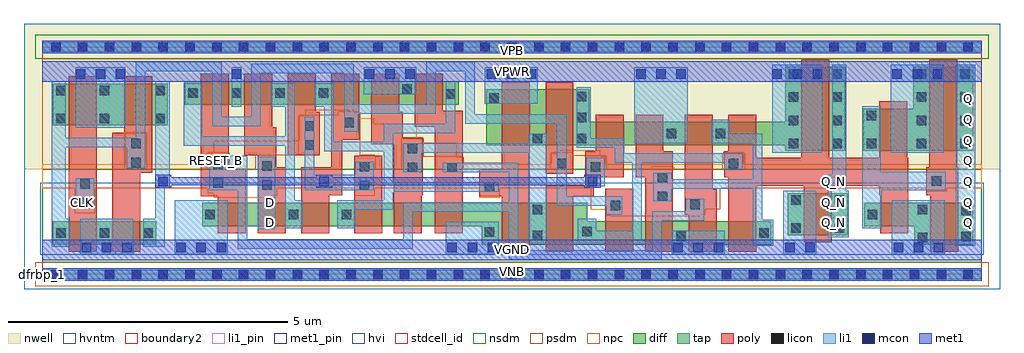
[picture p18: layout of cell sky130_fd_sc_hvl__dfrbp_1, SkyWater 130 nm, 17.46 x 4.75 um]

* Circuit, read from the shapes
.subckt sky130_fd_sc_hvl__dfrbp_1 CLK D Q Q_N RESET_B VGND VNB VPB VPWR
XM1 VGND CLK n1 VNB sky130_fd_pr__nfet_g5v0d10v5 w=0.42 l=0.5
XM2 n2 n1 VGND VNB sky130_fd_pr__nfet_g5v0d10v5 w=0.42 l=0.5
XM3 n3 RESET_B VGND VNB sky130_fd_pr__nfet_g5v0d10v5 w=0.42 l=0.5
XM4 n4 D n3 VNB sky130_fd_pr__nfet_g5v0d10v5 w=0.42 l=0.5
XM5 n5 n1 n4 VNB sky130_fd_pr__nfet_g5v0d10v5 w=0.42 l=0.5
XM6 n6 n2 n5 VNB sky130_fd_pr__nfet_g5v0d10v5 w=0.42 l=0.5
XM7 n7 n8 n6 VNB sky130_fd_pr__nfet_g5v0d10v5 w=0.42 l=0.5
XM8 VGND RESET_B n7 VNB sky130_fd_pr__nfet_g5v0d10v5 w=0.42 l=0.5
XM9 n8 n5 VGND VNB sky130_fd_pr__nfet_g5v0d10v5 w=0.75 l=0.5
XM10 n9 n2 n8 VNB sky130_fd_pr__nfet_g5v0d10v5 w=0.75 l=0.5
XM11 n10 n1 n9 VNB sky130_fd_pr__nfet_g5v0d10v5 w=0.42 l=0.5
XM12 VGND n11 n10 VNB sky130_fd_pr__nfet_g5v0d10v5 w=0.42 l=0.5
XM13 n12 RESET_B VGND VNB sky130_fd_pr__nfet_g5v0d10v5 w=0.42 l=0.5
XM14 n11 n9 n12 VNB sky130_fd_pr__nfet_g5v0d10v5 w=0.42 l=0.5
XM15 Q_N n9 VGND VNB sky130_fd_pr__nfet_g5v0d10v5 w=0.75 l=0.5
XM16 VGND n9 n13 VNB sky130_fd_pr__nfet_g5v0d10v5 w=0.42 l=0.5
XM17 Q n13 VGND VNB sky130_fd_pr__nfet_g5v0d10v5 w=0.75 l=0.5
XM18 VPWR CLK n1 VPB sky130_fd_pr__pfet_g5v0d10v5 w=0.75 l=0.5
XM19 n2 n1 VPWR VPB sky130_fd_pr__pfet_g5v0d10v5 w=0.75 l=0.5
XM20 VPWR RESET_B n4 VPB sky130_fd_pr__pfet_g5v0d10v5 w=0.42 l=0.5
XM21 n4 D VPWR VPB sky130_fd_pr__pfet_g5v0d10v5 w=0.42 l=0.5
XM22 n5 n2 n4 VPB sky130_fd_pr__pfet_g5v0d10v5 w=0.42 l=0.5
XM23 n14 n1 n5 VPB sky130_fd_pr__pfet_g5v0d10v5 w=0.42 l=0.5
XM24 VPWR n8 n14 VPB sky130_fd_pr__pfet_g5v0d10v5 w=0.42 l=0.5
XM25 n5 RESET_B VPWR VPB sky130_fd_pr__pfet_g5v0d10v5 w=0.42 l=0.5
XM26 n8 n5 VPWR VPB sky130_fd_pr__pfet_g5v0d10v5 w=1 l=0.5
XM27 n9 n1 n8 VPB sky130_fd_pr__pfet_g5v0d10v5 w=1 l=0.5
XM28 n15 n2 n9 VPB sky130_fd_pr__pfet_g5v0d10v5 w=0.42 l=0.5
XM29 VPWR n11 n15 VPB sky130_fd_pr__pfet_g5v0d10v5 w=0.42 l=0.5
XM30 n11 RESET_B VPWR VPB sky130_fd_pr__pfet_g5v0d10v5 w=0.42 l=0.5
XM31 VPWR n9 n11 VPB sky130_fd_pr__pfet_g5v0d10v5 w=0.42 l=0.5
XM32 Q_N n9 VPWR VPB sky130_fd_pr__pfet_g5v0d10v5 w=1.5 l=0.5
XM33 VPWR n9 n13 VPB sky130_fd_pr__pfet_g5v0d10v5 w=0.75 l=0.5
XM34 Q n13 VPWR VPB sky130_fd_pr__pfet_g5v0d10v5 w=1.5 l=0.5
.ends

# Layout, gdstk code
import gdstk
lib = gdstk.Library(unit=1e-6, precision=1e-09)
def R(c, l, rs):  # rectangles x0, y0, x1, y1
    for r in rs: c.add(gdstk.rectangle(r[:2], r[2:], *l))
def A(c, l, x, y, w, h, nx, ny, dx, dy):  # array of equal rectangles
    R(c, l, [(x+i*dx, y+j*dy, x+i*dx+w, y+j*dy+h) for i in range(nx) for j in range(ny)])
def P(c, l, *ps):  # polygons
    for p in ps: c.add(gdstk.Polygon(p, *l))
nwell = (64, 20)
diff = (65, 20)
tap = (65, 44)
poly = (66, 20)
licon = (66, 44)
li1_pin = (67, 16)
li1 = (67, 20)
mcon = (67, 44)
met1_pin = (68, 16)
met1 = (68, 20)
hvi = (75, 20)
stdcell_id = (81, 4)
nsdm = (93, 44)
psdm = (94, 20)
npc = (95, 20)
hvntm = (125, 20)
boundary2 = (236, 0)

sky130_fd_sc_hvl__dfrbp_ = lib.new_cell('sky130_fd_sc_hvl__dfrbp_1')
R(sky130_fd_sc_hvl__dfrbp_, nwell, [(-0.33,1.885,17.13,4.485)])
R(sky130_fd_sc_hvl__dfrbp_, diff, [(0.185,0.535,2.035,0.955), (13.335,0.705,14.405,1.455), (0.185,2.665,2.245,3.415), (2.545,3.04,7.445,3.46)])
P(sky130_fd_sc_hvl__dfrbp_, diff, [(13.035,0.955),(9.75,0.955),(9.75,1.285),(2.855,1.285),(2.855,0.865),(7.855,0.865),(7.855,0.535),(13.035,0.535)],
  [(14.36,3.715),(13.29,3.715),(13.29,2.73),(9.785,2.73),(9.785,3.31),(7.935,3.31),(7.935,2.31),(13.29,2.31),(13.29,2.215),(14.36,2.215)],
  [(16.65,3.715),(15.58,3.715),(15.58,2.965),(14.685,2.965),(14.685,2.215),(16.65,2.215)],
  [(16.65,1.285),(14.705,1.285),(14.705,0.865),(15.6,0.865),(15.6,0.535),(16.65,0.535)])
R(sky130_fd_sc_hvl__dfrbp_, tap, [(0,-0.085,16.8,0.085), (0,3.985,16.8,4.155)])
R(sky130_fd_sc_hvl__dfrbp_, poly, [(0.47,0.405,0.97,3.545), (10.07,0.405,10.57,1.53), (5.575,0.735,6.075,2.12), (9,1.8,9.5,3.44)])
P(sky130_fd_sc_hvl__dfrbp_, poly, [(1.96,3.545),(1.46,3.545),(1.46,2.535),(1.25,2.535),(1.25,0.405),(1.75,0.405),(1.75,1.815),(1.96,1.815)],
  [(3.64,1.895),(3.33,1.895),(3.33,3.59),(2.83,3.59),(2.83,1.395),(3.14,1.395),(3.14,0.735),(3.64,0.735)],
  [(4.35,1.915),(4.18,1.915),(4.18,2.635),(4.11,2.635),(4.11,3.59),(3.61,3.59),(3.61,2.135),(3.85,2.135),(3.85,0.735),(4.35,0.735)],
  [(4.96,2.91),(4.89,2.91),(4.89,3.59),(4.39,3.59),(4.39,2.13),(4.96,2.13)],
  [(5.67,3.59),(5.17,3.59),(5.17,1.915),(4.63,1.915),(4.63,0.735),(5.13,0.735),(5.13,1.415),(5.365,1.415),(5.365,2.41),(5.67,2.41)],
  [(6.805,2.435),(6.45,2.435),(6.45,2.91),(6.38,2.91),(6.38,3.59),(5.88,3.59),(5.88,2.33),(6.285,2.33),(6.285,0.735),(6.785,0.735),(6.785,1.415),(6.805,1.415)],
  [(7.515,2.93),(7.16,2.93),(7.16,3.59),(6.66,3.59),(6.66,2.645),(7.015,2.645),(7.015,0.735),(7.515,0.735)],
  [(8.72,3.44),(8.22,3.44),(8.22,1.895),(7.815,1.895),(7.815,1.395),(8.22,1.395),(8.22,0.405),(8.72,0.405)],
  [(10.395,2.86),(9.895,2.86),(9.895,2.2),(9.71,2.2),(9.71,1.59),(9,1.59),(9,0.405),(9.5,0.405),(9.5,1.395),(9.86,1.395),(9.86,1.74),(10.395,1.74)],
  [(11.28,2.2),(11.11,2.2),(11.11,2.86),(10.61,2.86),(10.61,1.74),(10.78,1.74),(10.78,0.405),(11.28,0.405)],
  [(12.06,1.525),(11.99,1.525),(11.99,2.86),(11.49,2.86),(11.49,1.065),(11.56,1.065),(11.56,0.405),(12.06,0.405)],
  [(15.49,2.085),(15.47,2.085),(15.47,3.095),(14.97,3.095),(14.97,2.085),(14.075,2.085),(14.075,3.845),(13.575,3.845),(13.575,2.085),(12.77,2.085),(12.77,2.86),(12.27,2.86),(12.27,2.2),(12.2,2.2),(12.2,1.735),(12.27,1.735),(12.27,0.405),(12.77,0.405),(12.77,1.585),(13.62,1.585),(13.62,0.575),(14.12,0.575),(14.12,1.585),(14.97,1.585),(14.97,1.415),(14.99,1.415),(14.99,0.735),(15.49,0.735)],
  [(16.385,1.915),(16.365,1.915),(16.365,3.845),(15.865,3.845),(15.865,1.915),(15.81,1.915),(15.81,1.415),(15.885,1.415),(15.885,0.405),(16.385,0.405)])
A(sky130_fd_sc_hvl__dfrbp_, licon, 0.155, -0.085, 0.17, 0.17, 35, 2, 0.48, 4.07)
A(sky130_fd_sc_hvl__dfrbp_, licon, 0.245, 0.66, 0.17, 0.17, 3, 1, 0.78, 0)
A(sky130_fd_sc_hvl__dfrbp_, licon, 9.555, 2.35, 0.17, 0.17, 1, 3, 0, 0.375)
A(sky130_fd_sc_hvl__dfrbp_, licon, 2.605, 3.165, 0.17, 0.17, 4, 1, 0.78, 0)
R(sky130_fd_sc_hvl__dfrbp_, licon, [(15.66,0.575,15.83,0.745), (11.335,0.59,11.505,0.76), (16.44,0.595,16.61,0.765), (8.775,0.615,8.945,0.785), (12.825,0.66,12.995,0.83), (7.915,0.675,8.085,0.845), (9.66,0.68,9.83,0.85), (13.395,0.745,13.565,0.915), (14.175,0.745,14.345,0.915), (2.915,0.99,3.085,1.16), (4.405,0.99,4.575,1.16), (5.35,0.99,5.52,1.16), (14.765,0.99,14.935,1.16), (16.44,1.055,16.61,1.225), (8.775,1.075,8.945,1.245), (15.66,1.075,15.83,1.245), (10.17,1.15,10.34,1.32), (11.59,1.165,11.76,1.335), (0.675,1.195,0.845,1.365), (13.395,1.245,13.565,1.415), (14.175,1.245,14.345,1.415), (11.01,1.31,11.18,1.48), (7.915,1.475,8.085,1.645), (5.675,1.51,5.845,1.68), (3.93,1.515,4.1,1.685), (0.675,1.535,0.845,1.705), (3.06,1.555,3.23,1.725), (15.91,1.585,16.08,1.755), (11.01,1.65,11.18,1.82), (6.535,1.825,6.705,1.995), (7.245,1.825,7.415,1.995), (9.81,1.84,9.98,2.01), (5.675,1.85,5.845,2.02), (3.93,1.855,4.1,2.025), (3.06,1.895,3.23,2.065), (9.205,1.9,9.375,2.07), (12.28,1.9,12.45,2.07), (1.585,1.915,1.755,2.085), (6.535,2.165,6.705,2.335), (4.695,2.23,4.865,2.4), (1.585,2.255,1.755,2.425), (13.35,2.255,13.52,2.425), (14.13,2.255,14.3,2.425), (14.745,2.255,14.915,2.425), (15.64,2.255,15.81,2.425), (16.42,2.255,16.59,2.425), (8.775,2.35,8.945,2.52), (11.165,2.435,11.335,2.605), (12.045,2.435,12.215,2.605), (4.695,2.57,4.865,2.74), (5.4,2.63,5.57,2.8), (13.35,2.67,13.52,2.84), (14.13,2.67,14.3,2.84), (15.64,2.67,15.81,2.84), (16.42,2.67,16.59,2.84), (0.245,2.705,0.415,2.875), (1.025,2.705,1.195,2.875), (2.015,2.705,2.185,2.875), (14.745,2.755,14.915,2.925), (7.995,3.075,8.165,3.245), (13.35,3.09,13.52,3.26), (14.13,3.09,14.3,3.26), (15.64,3.09,15.81,3.26), (16.42,3.09,16.59,3.26), (7.215,3.14,7.385,3.31), (0.245,3.205,0.415,3.375), (1.025,3.205,1.195,3.375), (2.015,3.205,2.185,3.375), (6.435,3.235,6.605,3.405), (13.35,3.505,13.52,3.675), (14.13,3.505,14.3,3.675), (15.64,3.505,15.81,3.675), (16.42,3.505,16.59,3.675)])
A(sky130_fd_sc_hvl__dfrbp_, li1_pin, 14.075, 0.84, 0.17, 0.17, 1, 3, 0, 0.37)
A(sky130_fd_sc_hvl__dfrbp_, li1_pin, 16.475, 0.84, 0.17, 0.17, 1, 7, 0, 0.37)
R(sky130_fd_sc_hvl__dfrbp_, li1_pin, [(3.995,0.84,4.165,1.01), (0.635,1.21,0.805,1.38), (3.995,1.21,4.165,1.38), (3.035,1.95,3.205,2.12)])
R(sky130_fd_sc_hvl__dfrbp_, li1, [(0,-0.085,16.8,0.085), (0.675,0.365,1.625,0.995), (2.365,0.365,3.315,1.325), (7.215,0.365,8.165,0.945), (11.255,0.365,12.205,0.78), (13.255,0.365,13.845,1.495), (15.195,0.365,16.145,1.325), (16.34,0.515,16.69,3.755), (3.85,0.81,4.165,2.105), (0.595,1.175,0.925,1.72), (9.725,1.58,10.06,2.09), (13.06,2.175,13.95,3.755), (15.175,2.175,16.125,3.755), (10.59,2.35,11.54,3.705), (0.595,2.625,1.485,3.705), (3.385,3,3.555,3.705), (7.915,3.05,8.865,3.705), (5.745,3.225,6.685,3.705), (0,3.985,16.8,4.155)])
P(sky130_fd_sc_hvl__dfrbp_, li1, [(12.53,2.17),(10.41,2.17),(10.41,2.44),(9.805,2.44),(9.805,3.35),(9.555,3.35),(9.555,2.27),(10.24,2.27),(10.24,2),(10.555,2),(10.555,0.785),(9.91,0.785),(9.91,0.995),(9.58,0.995),(9.58,0.615),(10.725,0.615),(10.725,2),(12.2,2),(12.2,1.88),(12.53,1.88)],
  [(13.075,0.975),(12.88,0.975),(12.88,2.52),(12.295,2.52),(12.295,2.77),(11.965,2.77),(11.965,2.35),(12.71,2.35),(12.71,1.7),(11.26,1.7),(11.26,1.82),(10.93,1.82),(10.93,1.31),(11.26,1.31),(11.26,1.53),(12.71,1.53),(12.71,0.515),(13.075,0.515)],
  [(14.425,1.495),(14.38,1.495),(14.38,3.755),(14.13,3.755),(14.13,1.78),(14.045,1.78),(14.045,0.665),(14.425,0.665)],
  [(16.16,1.835),(14.995,1.835),(14.995,3.005),(14.665,3.005),(14.665,0.825),(15.015,0.825),(15.015,1.505),(16.16,1.505)],
  [(2.275,3.455),(2.015,3.455),(2.015,0.995),(1.805,0.995),(1.805,0.495),(2.185,0.495),(2.185,1.55),(2.275,1.55)],
  [(4.655,1.325),(4.515,1.325),(4.515,3.42),(4.085,3.42),(4.085,3),(4.345,3),(4.345,2.47),(2.855,2.47),(2.855,3.42),(2.525,3.42),(2.525,2.3),(4.345,2.3),(4.345,0.825),(4.655,0.825)],
  [(5.925,2.02),(5.595,2.02),(5.595,1.78),(4.865,1.78),(4.865,2.82),(4.695,2.82),(4.695,1.505),(5.925,1.505)],
  [(8.165,1.645),(6.275,1.645),(6.275,2.525),(7.385,2.525),(7.385,3.455),(7.215,3.455),(7.215,2.695),(6.105,2.695),(6.105,2.37),(5.215,2.37),(5.215,3.42),(4.865,3.42),(4.865,3),(5.045,3),(5.045,2.2),(6.105,2.2),(6.105,1.325),(5.27,1.325),(5.27,0.825),(5.6,0.825),(5.6,1.155),(6.275,1.155),(6.275,1.475),(8.165,1.475)],
  [(9.025,2.52),(8.695,2.52),(8.695,2.345),(6.455,2.345),(6.455,1.825),(6.785,1.825),(6.785,2.175),(8.695,2.175),(8.695,0.615),(9.025,0.615)],
  [(10.375,1.4),(9.375,1.4),(9.375,2.87),(7.735,2.87),(7.735,3.805),(6.865,3.805),(6.865,3.045),(5.565,3.045),(5.565,3.77),(3.735,3.77),(3.735,2.82),(3.205,2.82),(3.205,3.805),(1.665,3.805),(1.665,2.445),(0.415,2.445),(0.415,3.455),(0.165,3.455),(0.165,0.495),(0.495,0.495),(0.495,0.995),(0.415,0.995),(0.415,2.275),(1.505,2.275),(1.505,1.9),(1.835,1.9),(1.835,3.635),(3.035,3.635),(3.035,2.65),(3.905,2.65),(3.905,3.6),(5.395,3.6),(5.395,2.55),(5.65,2.55),(5.65,2.875),(7.035,2.875),(7.035,3.635),(7.565,3.635),(7.565,2.7),(9.205,2.7),(9.205,1.23),(10.09,1.23),(10.09,1.07),(10.375,1.07)],
  [(11.84,1.35),(11.51,1.35),(11.51,1.13),(10.905,1.13),(10.905,0.435),(8.515,0.435),(8.515,1.995),(7.165,1.995),(7.165,1.825),(8.345,1.825),(8.345,1.295),(6.455,1.295),(6.455,0.63),(3.665,0.63),(3.665,2.12),(2.98,2.12),(2.98,1.505),(3.495,1.505),(3.495,0.46),(6.625,0.46),(6.625,1.125),(8.345,1.125),(8.345,0.265),(11.075,0.265),(11.075,0.96),(11.84,0.96)])
A(sky130_fd_sc_hvl__dfrbp_, mcon, 0.705, 0.395, 0.17, 0.17, 3, 1, 0.36, 0)
A(sky130_fd_sc_hvl__dfrbp_, mcon, 2.395, 0.395, 0.17, 0.17, 3, 1, 0.36, 0)
A(sky130_fd_sc_hvl__dfrbp_, mcon, 7.245, 0.395, 0.17, 0.17, 3, 1, 0.36, 0)
A(sky130_fd_sc_hvl__dfrbp_, mcon, 11.285, 0.395, 0.17, 0.17, 3, 1, 0.36, 0)
A(sky130_fd_sc_hvl__dfrbp_, mcon, 15.225, 0.395, 0.17, 0.17, 3, 1, 0.36, 0)
A(sky130_fd_sc_hvl__dfrbp_, mcon, 0.595, 3.505, 0.17, 0.17, 3, 1, 0.36, 0)
A(sky130_fd_sc_hvl__dfrbp_, mcon, 5.77, 3.505, 0.17, 0.17, 3, 1, 0.36, 0)
A(sky130_fd_sc_hvl__dfrbp_, mcon, 7.945, 3.505, 0.17, 0.17, 3, 1, 0.36, 0)
A(sky130_fd_sc_hvl__dfrbp_, mcon, 10.62, 3.505, 0.17, 0.17, 3, 1, 0.36, 0)
A(sky130_fd_sc_hvl__dfrbp_, mcon, 13.06, 3.505, 0.17, 0.17, 3, 1, 0.36, 0)
A(sky130_fd_sc_hvl__dfrbp_, mcon, 15.205, 3.505, 0.17, 0.17, 3, 1, 0.36, 0)
R(sky130_fd_sc_hvl__dfrbp_, mcon, [(0.155,-0.085,0.325,0.085), (0.155,-0.085,0.325,0.085), (0.635,-0.085,0.805,0.085), (0.635,-0.085,0.805,0.085), (1.115,-0.085,1.285,0.085), (1.115,-0.085,1.285,0.085), (1.595,-0.085,1.765,0.085), (1.595,-0.085,1.765,0.085), (2.075,-0.085,2.245,0.085), (2.075,-0.085,2.245,0.085), (2.555,-0.085,2.725,0.085), (2.555,-0.085,2.725,0.085), (3.035,-0.085,3.205,0.085), (3.035,-0.085,3.205,0.085), (3.515,-0.085,3.685,0.085), (3.515,-0.085,3.685,0.085), (3.995,-0.085,4.165,0.085), (3.995,-0.085,4.165,0.085), (4.475,-0.085,4.645,0.085), (4.475,-0.085,4.645,0.085), (4.955,-0.085,5.125,0.085), (4.955,-0.085,5.125,0.085), (5.435,-0.085,5.605,0.085), (5.435,-0.085,5.605,0.085), (5.915,-0.085,6.085,0.085), (5.915,-0.085,6.085,0.085), (6.395,-0.085,6.565,0.085), (6.395,-0.085,6.565,0.085), (6.875,-0.085,7.045,0.085), (6.875,-0.085,7.045,0.085), (7.355,-0.085,7.525,0.085), (7.355,-0.085,7.525,0.085), (7.835,-0.085,8.005,0.085), (7.835,-0.085,8.005,0.085), (8.315,-0.085,8.485,0.085), (8.315,-0.085,8.485,0.085), (8.795,-0.085,8.965,0.085), (8.795,-0.085,8.965,0.085), (9.275,-0.085,9.445,0.085), (9.275,-0.085,9.445,0.085), (9.755,-0.085,9.925,0.085), (9.755,-0.085,9.925,0.085), (10.235,-0.085,10.405,0.085), (10.235,-0.085,10.405,0.085), (10.715,-0.085,10.885,0.085), (10.715,-0.085,10.885,0.085), (11.195,-0.085,11.365,0.085), (11.195,-0.085,11.365,0.085), (11.675,-0.085,11.845,0.085), (11.675,-0.085,11.845,0.085), (12.155,-0.085,12.325,0.085), (12.155,-0.085,12.325,0.085), (12.635,-0.085,12.805,0.085), (12.635,-0.085,12.805,0.085), (13.115,-0.085,13.285,0.085), (13.115,-0.085,13.285,0.085), (13.595,-0.085,13.765,0.085), (13.595,-0.085,13.765,0.085), (14.075,-0.085,14.245,0.085), (14.075,-0.085,14.245,0.085), (14.555,-0.085,14.725,0.085), (14.555,-0.085,14.725,0.085), (15.035,-0.085,15.205,0.085), (15.035,-0.085,15.205,0.085), (15.515,-0.085,15.685,0.085), (15.515,-0.085,15.685,0.085), (15.995,-0.085,16.165,0.085), (15.995,-0.085,16.165,0.085), (16.475,-0.085,16.645,0.085), (16.475,-0.085,16.645,0.085), (13.285,0.395,13.455,0.565), (13.645,0.395,13.815,0.565), (2.075,1.58,2.245,1.75), (4.955,1.58,5.125,1.75), (9.755,1.58,9.925,1.75), (3.385,3.505,3.555,3.675), (0.155,3.985,0.325,4.155), (0.155,3.985,0.325,4.155), (0.635,3.985,0.805,4.155), (0.635,3.985,0.805,4.155), (1.115,3.985,1.285,4.155), (1.115,3.985,1.285,4.155), (1.595,3.985,1.765,4.155), (1.595,3.985,1.765,4.155), (2.075,3.985,2.245,4.155), (2.075,3.985,2.245,4.155), (2.555,3.985,2.725,4.155), (2.555,3.985,2.725,4.155), (3.035,3.985,3.205,4.155), (3.035,3.985,3.205,4.155), (3.515,3.985,3.685,4.155), (3.515,3.985,3.685,4.155), (3.995,3.985,4.165,4.155), (3.995,3.985,4.165,4.155), (4.475,3.985,4.645,4.155), (4.475,3.985,4.645,4.155), (4.955,3.985,5.125,4.155), (4.955,3.985,5.125,4.155), (5.435,3.985,5.605,4.155), (5.435,3.985,5.605,4.155), (5.915,3.985,6.085,4.155), (5.915,3.985,6.085,4.155), (6.395,3.985,6.565,4.155), (6.395,3.985,6.565,4.155), (6.875,3.985,7.045,4.155), (6.875,3.985,7.045,4.155), (7.355,3.985,7.525,4.155), (7.355,3.985,7.525,4.155), (7.835,3.985,8.005,4.155), (7.835,3.985,8.005,4.155), (8.315,3.985,8.485,4.155), (8.315,3.985,8.485,4.155), (8.795,3.985,8.965,4.155), (8.795,3.985,8.965,4.155), (9.275,3.985,9.445,4.155), (9.275,3.985,9.445,4.155), (9.755,3.985,9.925,4.155), (9.755,3.985,9.925,4.155), (10.235,3.985,10.405,4.155), (10.235,3.985,10.405,4.155), (10.715,3.985,10.885,4.155), (10.715,3.985,10.885,4.155), (11.195,3.985,11.365,4.155), (11.195,3.985,11.365,4.155), (11.675,3.985,11.845,4.155), (11.675,3.985,11.845,4.155), (12.155,3.985,12.325,4.155), (12.155,3.985,12.325,4.155), (12.635,3.985,12.805,4.155), (12.635,3.985,12.805,4.155), (13.115,3.985,13.285,4.155), (13.115,3.985,13.285,4.155), (13.595,3.985,13.765,4.155), (13.595,3.985,13.765,4.155), (14.075,3.985,14.245,4.155), (14.075,3.985,14.245,4.155), (14.555,3.985,14.725,4.155), (14.555,3.985,14.725,4.155), (15.035,3.985,15.205,4.155), (15.035,3.985,15.205,4.155), (15.515,3.985,15.685,4.155), (15.515,3.985,15.685,4.155), (15.995,3.985,16.165,4.155), (15.995,3.985,16.165,4.155), (16.475,3.985,16.645,4.155), (16.475,3.985,16.645,4.155)])
R(sky130_fd_sc_hvl__dfrbp_, met1_pin, [(0,0,16.8,0.115), (0,0.255,16.8,0.625), (0,3.445,16.8,3.815), (0,3.955,16.8,4.07)])
R(sky130_fd_sc_hvl__dfrbp_, met1, [(0,-0.115,16.8,0.115), (0,0.255,16.8,0.625), (0,3.445,16.8,3.815), (0,3.955,16.8,4.185)])
P(sky130_fd_sc_hvl__dfrbp_, met1, [(5.185,1.735),(9.695,1.735),(9.695,1.78),(9.985,1.78),(9.985,1.55),(9.695,1.55),(9.695,1.595),(5.185,1.595),(5.185,1.55),(4.895,1.55),(4.895,1.595),(2.305,1.595),(2.305,1.55),(2.015,1.55),(2.015,1.78),(2.305,1.78),(2.305,1.735),(4.895,1.735),(4.895,1.78),(5.185,1.78)])
R(sky130_fd_sc_hvl__dfrbp_, hvi, [(-0.33,-0.265,17.13,4.485)])
R(sky130_fd_sc_hvl__dfrbp_, stdcell_id, [(0,0,16.8,4.07)])
R(sky130_fd_sc_hvl__dfrbp_, nsdm, [(0,0.215,16.8,1.885), (-0.13,3.855,16.93,4.285), (0,3.855,16.8,4.07)])
R(sky130_fd_sc_hvl__dfrbp_, psdm, [(-0.13,-0.215,16.93,0.215)])
P(sky130_fd_sc_hvl__dfrbp_, psdm, [(16.8,3.855),(0,3.855),(0,1.885),(1.475,1.885),(1.475,2.535),(1.865,2.535),(1.865,1.885),(2.95,1.885),(2.95,2.175),(3.34,2.175),(3.34,1.885),(3.82,1.885),(3.82,2.135),(4.585,2.135),(4.585,2.85),(5.29,2.85),(5.29,2.91),(5.68,2.91),(5.68,2.13),(5.955,2.13),(5.955,1.885),(6.425,1.885),(6.425,2.445),(6.815,2.445),(6.815,2.105),(7.525,2.105),(7.525,1.885),(9.095,1.885),(9.095,2.18),(9.485,2.18),(9.485,2.12),(10.09,2.12),(10.09,1.885),(10.9,1.885),(10.9,1.93),(11.29,1.93),(11.29,1.885),(12.17,1.885),(12.17,2.18),(12.56,2.18),(12.56,1.885),(16.8,1.885)])
P(sky130_fd_sc_hvl__dfrbp_, npc, [(16.8,1.97),(12.55,1.97),(12.55,2.17),(12.18,2.17),(12.18,1.97),(10.08,1.97),(10.08,2.11),(9.975,2.11),(9.975,2.22),(9.21,2.22),(9.21,2.17),(9.105,2.17),(9.105,1.97),(7.515,1.97),(7.515,2.095),(7.41,2.095),(7.41,2.36),(6.805,2.36),(6.805,2.435),(6.7,2.435),(6.7,2.7),(5.935,2.7),(5.935,2.795),(5.67,2.795),(5.67,2.9),(5.565,2.9),(5.565,2.95),(4.7,2.95),(4.7,2.84),(4.595,2.84),(4.595,2.395),(4.33,2.395),(4.33,2.39),(3.065,2.39),(3.065,2.165),(2.96,2.165),(2.96,1.97),(1.855,1.97),(1.855,2.525),(1.485,2.525),(1.485,1.97),(0,1.97),(0,1.545),(0.575,1.545),(0.575,1.095),(0.945,1.095),(0.945,1.545),(2.96,1.545),(2.96,1.455),(3.065,1.455),(3.065,1.375),(4.095,1.375),(4.095,1.415),(4.2,1.415),(4.2,1.545),(5.575,1.545),(5.575,1.41),(5.945,1.41),(5.945,1.545),(7.815,1.545),(7.815,1.375),(8.185,1.375),(8.185,1.545),(9.805,1.545),(9.805,1.155),(10.07,1.155),(10.07,1.05),(10.175,1.05),(10.175,1.045),(11.755,1.045),(11.755,1.065),(11.86,1.065),(11.86,1.17),(12.125,1.17),(12.125,1.545),(15.81,1.545),(15.81,1.485),(16.18,1.485),(16.18,1.545),(16.8,1.545)])
R(sky130_fd_sc_hvl__dfrbp_, hvntm, [(-0.035,0.35,16.835,1.64)])
R(sky130_fd_sc_hvl__dfrbp_, boundary2, [(0,0,16.8,4.07)])
sky130_fd_sc_hvl__dfrbp_.add(gdstk.Label('dfrbp_1', (0,0), layer=83, texttype=44))
sky130_fd_sc_hvl__dfrbp_.add(gdstk.Label('VGND', (8.4,0.44), layer=68, texttype=5))
sky130_fd_sc_hvl__dfrbp_.add(gdstk.Label('VNB', (8.4,0.058), layer=68, texttype=5))
sky130_fd_sc_hvl__dfrbp_.add(gdstk.Label('VPWR', (8.4,3.63), layer=68, texttype=5))
sky130_fd_sc_hvl__dfrbp_.add(gdstk.Label('VPB', (8.4,4.013), layer=68, texttype=5))
sky130_fd_sc_hvl__dfrbp_.add(gdstk.Label('D', (4.08,0.925), layer=67, texttype=5))
sky130_fd_sc_hvl__dfrbp_.add(gdstk.Label('D', (4.08,1.295), layer=67, texttype=5))
sky130_fd_sc_hvl__dfrbp_.add(gdstk.Label('CLK', (0.72,1.295), layer=67, texttype=5))
sky130_fd_sc_hvl__dfrbp_.add(gdstk.Label('Q', (16.56,0.925), layer=67, texttype=5))
sky130_fd_sc_hvl__dfrbp_.add(gdstk.Label('Q', (16.56,1.295), layer=67, texttype=5))
sky130_fd_sc_hvl__dfrbp_.add(gdstk.Label('Q', (16.56,1.665), layer=67, texttype=5))
sky130_fd_sc_hvl__dfrbp_.add(gdstk.Label('Q', (16.56,2.035), layer=67, texttype=5))
sky130_fd_sc_hvl__dfrbp_.add(gdstk.Label('Q', (16.56,2.405), layer=67, texttype=5))
sky130_fd_sc_hvl__dfrbp_.add(gdstk.Label('Q', (16.56,2.775), layer=67, texttype=5))
sky130_fd_sc_hvl__dfrbp_.add(gdstk.Label('Q', (16.56,3.145), layer=67, texttype=5))
sky130_fd_sc_hvl__dfrbp_.add(gdstk.Label('Q_N', (14.16,0.925), layer=67, texttype=5))
sky130_fd_sc_hvl__dfrbp_.add(gdstk.Label('Q_N', (14.16,1.295), layer=67, texttype=5))
sky130_fd_sc_hvl__dfrbp_.add(gdstk.Label('Q_N', (14.16,1.665), layer=67, texttype=5))
sky130_fd_sc_hvl__dfrbp_.add(gdstk.Label('RESET_B', (3.12,2.035), layer=67, texttype=5))

lib.write_gds('sky130_fd_sc_hvl__dfrbp_1.gds')
